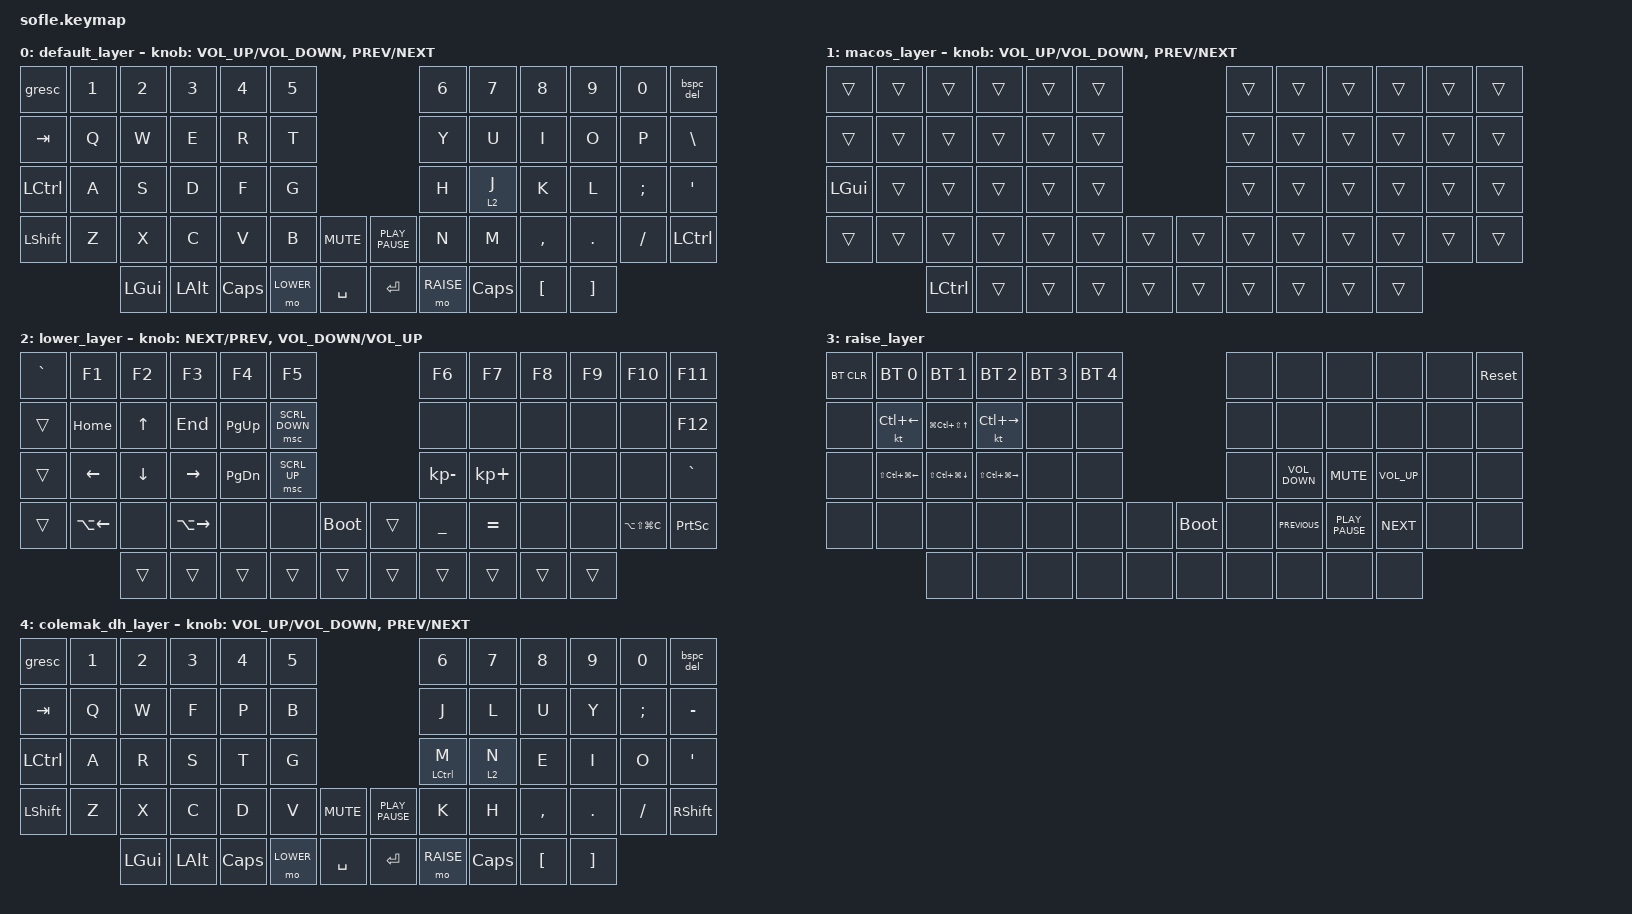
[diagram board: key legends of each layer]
/*
 * Copyright (c) 2020 The ZMK Contributors
 *
 * SPDX-License-Identifier: MIT
 */

#define ZMK_POINTING_DEFAULT_MOVE_VAL 200
#define ZMK_POINTING_DEFAULT_SCRL_VAL 1

#include <behaviors.dtsi>
#include <dt-bindings/zmk/bt.h>
#include <dt-bindings/zmk/keys.h>
#include <dt-bindings/zmk/pointing.h>

#define BASE 0
#define LOWER 2
#define RAISE 3
#define COLEMAK 4

/ {
    // Activate ADJUST layer by pressing raise and lower
    // conditional_layers {
    //    compatible = "zmk,conditional-layers";
    //    adjust_layer {
    //        if-layers = <LOWER RAISE>;
    //        then-layer = <ADJUST>;
    //    };
    //};

    behaviors {
        gresc: grave_escape {
            compatible = "zmk,behavior-mod-morph";
            #binding-cells = <0>;
            bindings = <&kp ESC>, <&kp TILDE>;

            mods = <(MOD_LGUI|MOD_LSFT|MOD_RGUI|MOD_RSFT)>;
        };

        bspc_del: backspace_delete {
            compatible = "zmk,behavior-mod-morph";
            #binding-cells = <0>;
            bindings = <&kp BACKSPACE>, <&kp DELETE>;

            mods = <(MOD_LSFT|MOD_RSFT)>;
            keep-mods = <(MOD_RSFT)>;
        };

        my_mt: mod_tap {
            compatible = "zmk,behavior-hold-tap";
            #binding-cells = <2>;
            flavor = "tap-preferred";
            tapping-term-ms = <200>;
            bindings = <&kp>, <&kp>;

            display-name = "Mod-Tap";
        };

        my_lt: layer_tap {
            compatible = "zmk,behavior-hold-tap";
            #binding-cells = <2>;
            flavor = "tap-preferred";
            tapping-term-ms = <200>;
            bindings = <&mo>, <&kp>;

            display-name = "Layer-Tap";
        };
    };

    combos {
        compatible = "zmk,combos";

        default_layer_combo {
            bindings = <&to 0>;
            key-positions = <16 17 18 19>;
        };

        macos_layer_combo {
            bindings = <&to 1>;
            key-positions = <28 29 30 31>;
        };

        colemak_dh_layer_combo {
            bindings = <&to 4>;
            key-positions = <40 41 44 45>;
            layers = <4>;
        };
    };

    keymap {
        compatible = "zmk,keymap";

        default_layer {
            // ------------------------------------------------------------------------------------------------------------
            // |   `   |  1  |  2  |  3   |  4   |  5   |                   |  6   |  7    |  8    |  9   |   0   |       |
            // |  ESC  |  Q  |  W  |  E   |  R   |  T   |                   |  Y   |  U    |  I    |  O   |   P   | BKSPC |
            // |  TAB  |  A  |  S  |  D   |  F   |  G   |                   |  H   |  J    |  K    |  L   |   ;   |   '   |
            // | SHIFT |  Z  |  X  |  C   |  V   |  B   |  MUTE  |  |       |  N   |  M    |  ,    |  .   |   /   | SHIFT |
            //               | GUI | ALT  | CTRL | LOWER|  ENTER |  | SPACE | RAISE| CTRL  | ALT   | GUI  |

            bindings = <
&gresc            &kp N1  &kp N2    &kp N3    &kp N4        &kp N5                                     &kp N6     &kp N7      &kp N8            &kp N9             &kp N0    &bspc_del
&kp TAB           &kp Q   &kp W     &kp E     &kp R         &kp T                                      &kp Y      &kp U       &kp I             &kp O              &kp P     &kp BACKSLASH
&kp LEFT_CONTROL  &kp A   &kp S     &kp D     &kp F         &kp G                                      &kp H      &my_lt 2 J  &kp K             &kp L              &kp SEMI  &kp SQT
&kp LSHFT         &kp Z   &kp X     &kp C     &kp V         &kp B      &kp C_MUTE    &kp K_PLAY_PAUSE  &kp N      &kp M       &kp COMMA         &kp DOT            &kp FSLH  &kp LCTRL
                          &kp LGUI  &kp LALT  &kp CAPSLOCK  &mo LOWER  &kp SPACE     &kp ENTER         &mo RAISE  &kp CAPS    &kp LEFT_BRACKET  &kp RIGHT_BRACKET
            >;

            sensor-bindings =
                <&inc_dec_kp C_VOLUME_UP C_VOLUME_DOWN>,
                <&inc_dec_kp C_PREV C_NEXT>;
        };

        macos_layer {
            // TODO: Some binds are waiting for shifted keycode support.
            // ------------------------------------------------------------------------------------------------------------
            // |       |  F1 |  F2 |  F3  |  F4  |  F5  |                   |  F6  |  F7   |  F8   |  F9  |  F10  |  F11  |
            // |   `   |  1  |  2  |  3   |  4   |  5   |                   |  6   |  7    |  8    |  9   |   0   |  F12  |
            // |       |  !  |  @  |  #   |  $   |  %   |                   |  ^   |  &    |  *    |  (   |   )   |   |   |
            // |       |  =  |  -  |  +   |  {   |  }   |        |  |       |  [   |  ]    |  ;    |  :   |   \   |       |
            //               |     |      |      |      |        |  |       |      |       |       |      |

            bindings = <
&trans        &trans  &trans            &trans  &trans  &trans                    &trans  &trans  &trans  &trans  &trans  &trans
&trans        &trans  &trans            &trans  &trans  &trans                    &trans  &trans  &trans  &trans  &trans  &trans
&kp LEFT_GUI  &trans  &trans            &trans  &trans  &trans                    &trans  &trans  &trans  &trans  &trans  &trans
&trans        &trans  &trans            &trans  &trans  &trans  &trans    &trans  &trans  &trans  &trans  &trans  &trans  &trans
                      &kp LEFT_CONTROL  &trans  &trans  &trans  &trans    &trans  &trans  &trans  &trans  &trans
            >;

            sensor-bindings =
                <&inc_dec_kp K_VOLUME_UP K_VOLUME_DOWN>,
                <&inc_dec_kp C_PREV C_NEXT>;
        };

        lower_layer {
            // ------------------------------------------------------------------------------------------------------------
            // | BTCLR | BT1  | BT2  |  BT3  |  BT4  |  BT5 |                |      |      |       |      |       |       |
            // |       | INS  | PSCR | GUI   |       |      |                | PGUP |      |   ^   |      |       |       |
            // |       | ALT  | CTRL | SHIFT |       | CAPS |                | PGDN |   <- |   v   |  ->  |  DEL  | BKSPC |
            // |       | UNDO | CUT  | COPY  | PASTE |      |      |  |      |      |      |       |      |       |       |
            //                |      |       |       |      |      |  |      |      |      |       |      |

            bindings = <
&kp GRAVE  &kp F1              &kp F2          &kp F3           &kp F4         &kp F5                                 &kp F6          &kp F7       &kp F8  &kp F9  &kp F10            &kp F11
&trans     &kp HOME            &kp UP_ARROW    &kp END          &kp PAGE_UP    &msc SCRL_DOWN                         &none           &none        &none   &none   &none              &kp F12
&trans     &kp LEFT_ARROW      &kp DOWN_ARROW  &kp RIGHT_ARROW  &kp PAGE_DOWN  &msc SCRL_UP                           &kp KP_MINUS    &kp KP_PLUS  &none   &none   &none              &kp GRAVE
&trans     &kp LA(LEFT_ARROW)  &none           &kp LA(RIGHT)    &none          &none           &bootloader    &trans  &kp UNDERSCORE  &kp EQUAL    &none   &none   &kp LA(LS(LG(C)))  &kp PRINTSCREEN
                               &trans          &trans           &trans         &trans          &trans         &trans  &trans          &trans       &trans  &trans
            >;

            sensor-bindings =
                <&inc_dec_kp C_NEXT C_PREV>,
                <&inc_dec_kp C_VOLUME_DOWN C_VOL_UP>;
        };

        raise_layer {
            // ----------------------------------------------------------------------------------------------------------------------------
            // | BTCLR  |  BT1    |  BT2    |   BT3   |   BT4   |   BT5   |                  |      |      |       |      |       |       |
            // | EXTPWR | RGB_HUD | RGB_HUI | RGB_SAD | RGB_SAI | RGB_EFF |                  |      |      |       |      |       |       |
            // |        | RGB_BRD | RGB_BRI |         |         |         |                  |      |      |       |      |       |       |
            // |        |         |         |         |         |         | RGB_TOG | |      |      |      |       |      |       |       |
            //                    |         |         |         |         |         | |      |      |      |       |      |

            bindings = <
&bt BT_CLR  &bt BT_SEL 0          &bt BT_SEL 1          &bt BT_SEL 2           &bt BT_SEL 3  &bt BT_SEL 4                        &none  &none              &none             &none         &none  &sys_reset
&none       &kt LC(LEFT_ARROW)    &kp LG(LC(LS(UP)))    &kt LC(RIGHT_ARROW)    &none         &none                               &none  &none              &none             &none         &none  &none
&none       &kp LS(LC(LG(LEFT)))  &kp LS(LC(LG(DOWN)))  &kp LS(LC(LG(RIGHT)))  &none         &none                               &none  &kp C_VOLUME_DOWN  &kp C_MUTE        &kp C_VOL_UP  &none  &none
&none       &none                 &none                 &none                  &none         &none         &none    &bootloader  &none  &kp K_PREVIOUS     &kp K_PLAY_PAUSE  &kp K_NEXT    &none  &none
                                  &none                 &none                  &none         &none         &none    &none        &none  &none              &none             &none
            >;
        };

        // extra1 { status = "reserved"; };

        colemak_dh_layer {
            // ------------------------------------------------------------------------------------------------------------
            // |   `   |  1  |  2  |  3   |  4   |  5   |                   |  6   |  7    |  8    |  9   |   0   |       |
            // |  ESC  |  Q  |  W  |  E   |  R   |  T   |                   |  Y   |  U    |  I    |  O   |   P   | BKSPC |
            // |  TAB  |  A  |  S  |  D   |  F   |  G   |                   |  H   |  J    |  K    |  L   |   ;   |   '   |
            // | SHIFT |  Z  |  X  |  C   |  V   |  B   |  MUTE  |  |       |  N   |  M    |  ,    |  .   |   /   | SHIFT |
            //               | GUI | ALT  | CTRL | LOWER|  ENTER |  | SPACE | RAISE| CTRL  | ALT   | GUI  |

            bindings = <
&gresc            &kp N1  &kp N2    &kp N3    &kp N4        &kp N5                                     &kp N6                 &kp N7      &kp N8            &kp N9             &kp N0         &bspc_del
&kp TAB           &kp Q   &kp W     &kp F     &kp P         &kp B                                      &kp J                  &kp L       &kp U             &kp Y              &kp SEMICOLON  &kp MINUS
&kp LEFT_CONTROL  &kp A   &kp R     &kp S     &kp T         &kp G                                      &my_mt LEFT_CONTROL M  &my_lt 2 N  &kp E             &kp I              &kp O          &kp SQT
&kp LSHFT         &kp Z   &kp X     &kp C     &kp D         &kp V      &kp C_MUTE    &kp K_PLAY_PAUSE  &kp K                  &kp H       &kp COMMA         &kp DOT            &kp FSLH       &kp RIGHT_SHIFT
                          &kp LGUI  &kp LALT  &kp CAPSLOCK  &mo LOWER  &kp SPACE     &kp ENTER         &mo RAISE              &kp CAPS    &kp LEFT_BRACKET  &kp RIGHT_BRACKET
            >;

            sensor-bindings =
                <&inc_dec_kp C_VOLUME_UP C_VOLUME_DOWN>,
                <&inc_dec_kp C_PREV C_NEXT>;
        };

        extra2 { status = "reserved"; };

        extra3 { status = "reserved"; };

        extra4 { status = "reserved"; };
    };

    conditional_layers { compatible = "zmk,conditional-layers"; };
};
